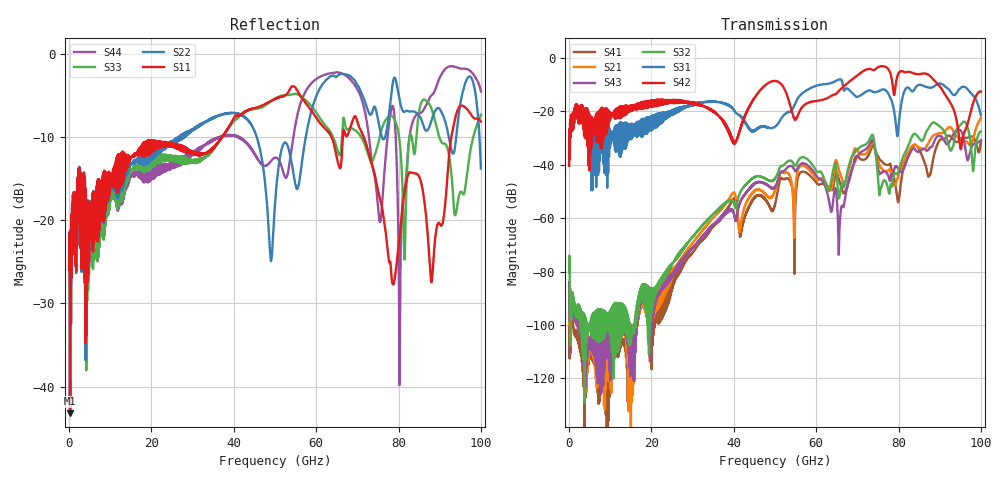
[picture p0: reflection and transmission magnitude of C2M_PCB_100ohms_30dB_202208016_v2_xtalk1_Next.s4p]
! Info: Touchstone file created by Circ.  Input file=Intel_C2M_200G_13p5in_202208016_staggered.circ
# Hz S RI R 50
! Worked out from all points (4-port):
!   10000 points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, 10 MHz to 100 GHz, reference 50 ohm
!   strongest paths, dB at 10 MHz, 25.01 GHz, 50.01 GHz, 75.01 GHz, 100 GHz:
!     S42: -40.3, -16.3, -8.6, -3.4, -12.6
!     S31: -40.3, -20.6, -25.7, -12.6, -21.4
!     S32: -80.4, -77.4, -45.1, -44.9, -27.5
!     S43: -85.0, -81.2, -48.3, -41.3, -30.8
!     S21: -85.4, -80.3, -49.4, -38.4, -22.5
!     S41: -87.1, -82.3, -54.6, -36.8, -31.5
!   lowest |S11| = -43.2 dB at 240 MHz (marker M1), VSWR 1.01, Z = 50.7 + j0.146 ohm
!   |S11| at or under -10 dB: start of sweep to 37.09 GHz; 63.72 GHz to 66.48 GHz (2.755 GHz wide, 4.23 % of centre); 71.56 GHz to 92.83 GHz (21.27 GHz wide, 25.9 % of centre)
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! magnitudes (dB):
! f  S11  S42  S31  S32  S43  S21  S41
! 10 MHz  -25.9  -40.3  -40.3  -80.4  -85.0  -85.4  -87.1
! 240 MHz  -43.2  -24.3  -24.4  -87.8  -94.6  -94.7  -99.2
! 65.66 GHz  -13.7  -12.1  -8.0  -51.9  -64.1  -42.6  -46.1
! 73.47 GHz  -13.3  -4.3  -12.3  -28.9  -30.7  -31.8  -33.3
! 76.03 GHz  -18.6  -3.0  -11.8  -47.3  -42.9  -41.6  -38.8
! 95.19 GHz  -6.2  -34.0  -11.1  -24.8  -27.3  -30.8  -30.1
! 100 GHz  -8.1  -12.6  -21.4  -27.5  -30.8  -22.5  -31.5
